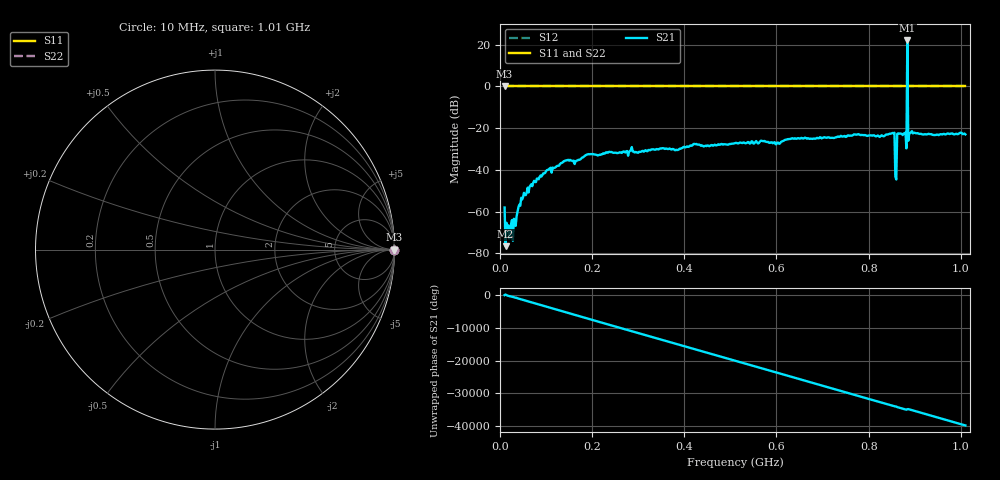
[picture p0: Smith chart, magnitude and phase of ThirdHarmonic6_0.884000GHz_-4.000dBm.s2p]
! 8/16/2025 5:05:27 AM
! C:\ANRITSUVNA\TEMP\TEMP.S2P
! CHANNEL.1
! TR.MEASUREMENT
! RAW.DATA
! RF.CORRECTION.OFF
! AVERAGING.OFF
! IF.BANDWIDTH: 5KHZ
! SWEEPTYPE:  FREQ.SWEEP(Linear)
! Reference Plane Port Info
! PORT:  PORT1  PORT2
! DISTANCE:  0  m  0  m
! TIME:  0  s  0  s
! PHASE.OFFSET:  0  deg.  0  deg.
! LOSS:  0  dB  0  dB
! REF.LOSS:  0  dB  0  dB
! REF.FREQ:  0  Hz  0  Hz
! Power Info
! POWER:  -20  dBm  -20  dBm
! EFF.POWER:  -20  dBm  -20  dBm
! SOURCE.ATTEN:  0  dB  0  dB
! TEST.ATTEN:  0  dB  0  dB
# GHZ S RI R 50.0
! FREQ.GHZ  S11RE  S11IM  S21RE  S21IM  S12RE  S12IM  S22RE  S22IM
!; PortSelection: Port_12
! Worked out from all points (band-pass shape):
!   501 points, 10 MHz to 1.01 GHz, reference 50 ohm
!   highest |S21| = 22.07 dB at 884 MHz (marker M1); lowest = -76.6 dB at 12 MHz (marker M2)
!   |S21| within 3 dB of the highest: 883.8841 MHz to 884.1247 MHz (240.6 kHz wide, 0.0272 % of centre)
!   lowest |S11| = 0.0 dB at 10 MHz (marker M3)
!   |S11| at or under -10 dB: nowhere
!   |S22| runs from 0.0 to 0.0 dB; largest |S21 - S12| = 13
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0.01  1 0  0.00121 0.00031  1 0  1 0
0.012  1 0  -0.000146 -2.27e-05  1 0  1 0
0.016  1 0  -0.000214 -0.000312  1 0  1 0
0.024  1 0  0.000204 -0.000452  1 0  1 0
0.05  1 0  0.00208 -0.000743  1 0  1 0
0.104  1 0  0.00565 -0.00832  1 0  1 0
0.178  1 0  -0.0189 -0.00527  1 0  1 0
0.344  1 0  0.0304 -0.00531  1 0  1 0
0.51  1 0  -0.042 0.0115  1 0  1 0
0.678  1 0  -0.0178 -0.0524  1 0  1 0
0.844  1 0  0.043 0.0584  1 0  1 0
0.852  1 0  0.000763 0.0766  1 0  1 0
0.856  1 0  0.0223 -0.0742  1 0  1 0
0.858  1 0  -0.00442 -0.00534  1 0  1 0
0.862  1 0  0.0539 0.0486  1 0  1 0
0.866  1 0  -0.0333 -0.0655  1 0  1 0
0.878  1 0  -0.0401 0.0642  1 0  1 0
0.88  1 0  0.0575 0.0527  1 0  1 0
0.884  1 0  -6.304 11.01  1 0  1 0
0.888  1 0  0.019 0.0707  1 0  1 0
0.89  1 0  0.0761 -0.00466  1 0  1 0
1.01  1 0  -0.0659 -0.0262  1 0  1 0
